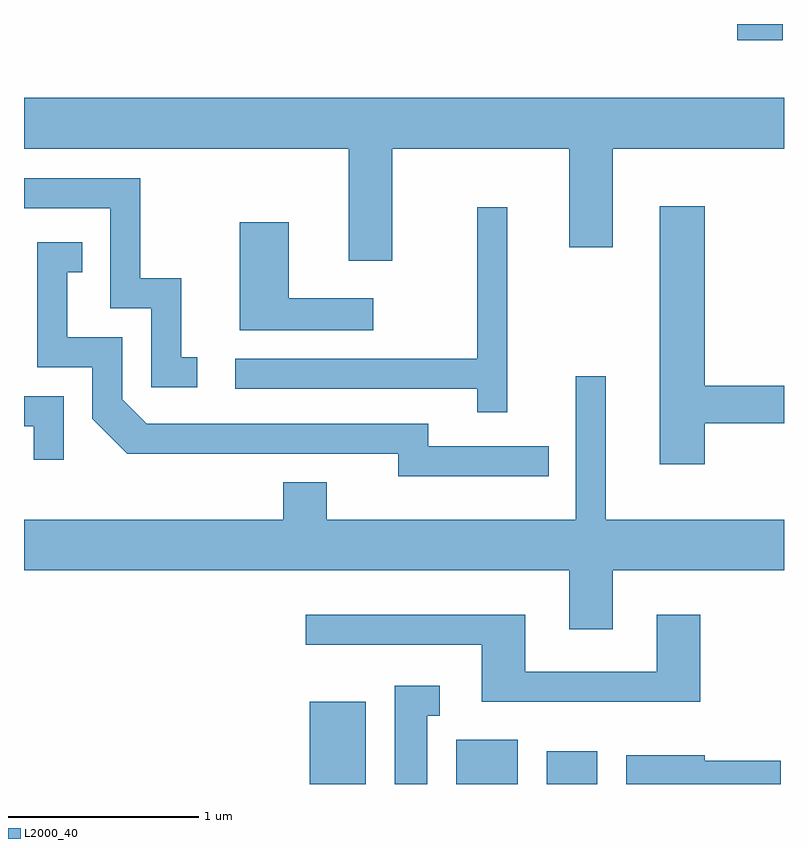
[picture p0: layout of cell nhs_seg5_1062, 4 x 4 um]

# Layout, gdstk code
import gdstk
lib = gdstk.Library(unit=1e-6, precision=1e-09)
def R(c, l, rs):  # rectangles x0, y0, x1, y1
    for r in rs: c.add(gdstk.rectangle(r[:2], r[2:], *l))
def P(c, l, *ps):  # polygons
    for p in ps: c.add(gdstk.Polygon(p, *l))
L2000_40 = (2000, 40)

nhs_seg5_1062 = lib.new_cell('nhs_seg5_1062')
R(nhs_seg5_1062, L2000_40, [(217.116,1500.072,217.409,1500.504), (217.886,1500.072,218.209,1500.304), (218.361,1500.072,218.629,1500.244), (219.366,1503.986,219.604,1504.072)])
P(nhs_seg5_1062, L2000_40, [(217.549,1503.416),(218.481,1503.416),(218.481,1502.896),(218.709,1502.896),(218.709,1503.416),(219.611,1503.416),(219.611,1503.684),(215.611,1503.684),(215.611,1503.416),(217.321,1503.416),(217.321,1502.826),(217.549,1502.826)],
  [(216.523,1502.319),(216.439,1502.319),(216.439,1502.734),(216.224,1502.734),(216.224,1503.259),(215.611,1503.259),(215.611,1503.101),(216.066,1503.101),(216.066,1502.576),(216.281,1502.576),(216.281,1502.161),(216.523,1502.161)],
  [(219.194,1501.971),(219.611,1501.971),(219.611,1502.169),(219.194,1502.169),(219.194,1503.114),(218.956,1503.114),(218.956,1501.756),(219.194,1501.756)],
  [(218.154,1503.108),(217.996,1503.108),(217.996,1502.309),(216.723,1502.309),(216.723,1502.151),(217.996,1502.151),(217.996,1502.028),(218.154,1502.028)],
  [(217.448,1502.629),(217.004,1502.629),(217.004,1503.029),(216.746,1503.029),(216.746,1502.461),(217.448,1502.461)],
  [(218.373,1501.849),(217.739,1501.849),(217.739,1501.969),(216.257,1501.969),(216.129,1502.097),(216.129,1502.424),(215.839,1502.424),(215.839,1502.766),(215.918,1502.766),(215.918,1502.924),(215.681,1502.924),(215.681,1502.266),(215.971,1502.266),(215.971,1501.994),(216.154,1501.811),(217.581,1501.811),(217.581,1501.691),(218.373,1501.691)],
  [(218.709,1501.196),(219.611,1501.196),(219.611,1501.464),(218.674,1501.464),(218.674,1502.218),(218.516,1502.218),(218.516,1501.464),(217.204,1501.464),(217.204,1501.659),(216.976,1501.659),(216.976,1501.464),(215.611,1501.464),(215.611,1501.196),(218.481,1501.196),(218.481,1500.886),(218.709,1500.886)],
  [(215.819,1502.114),(215.611,1502.114),(215.611,1501.956),(215.661,1501.956),(215.661,1501.778),(215.819,1501.778)],
  [(219.169,1500.964),(218.941,1500.964),(218.941,1500.664),(218.249,1500.664),(218.249,1500.964),(217.093,1500.964),(217.093,1500.806),(218.021,1500.806),(218.021,1500.506),(219.169,1500.506)],
  [(217.734,1500.431),(217.798,1500.431),(217.798,1500.589),(217.561,1500.589),(217.561,1500.072),(217.734,1500.072)],
  [(219.594,1500.194),(219.194,1500.194),(219.194,1500.224),(218.781,1500.224),(218.781,1500.072),(219.594,1500.072)])

lib.write_gds('nhs_seg5_1062.gds')
